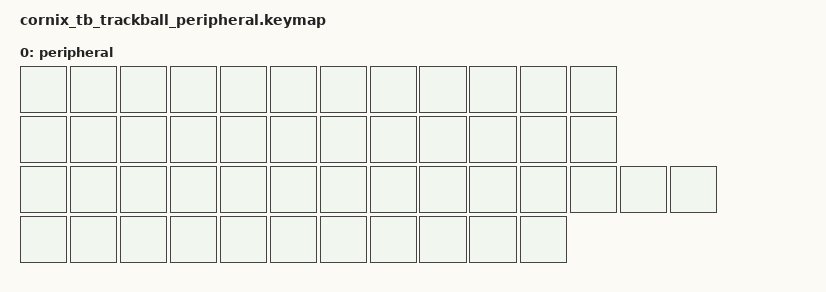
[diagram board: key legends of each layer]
/* SPDX-License-Identifier: MIT
 * The XIAO trackball is a split peripheral without keys. The central owns the
 * real keymap (config/Cornix_tb.keymap); this empty one only satisfies the
 * peripheral image (same placeholder as the board's cornix.keymap).
 */
#include <behaviors.dtsi>
/ {
    keymap {
        compatible = "zmk,keymap";
        peripheral {
            bindings = <
&none &none &none &none &none &none &none &none &none &none &none &none
&none &none &none &none &none &none &none &none &none &none &none &none
&none &none &none &none &none &none &none &none &none &none &none &none &none &none
&none &none &none &none &none &none &none &none &none &none &none
            >;
        };
    };
};
